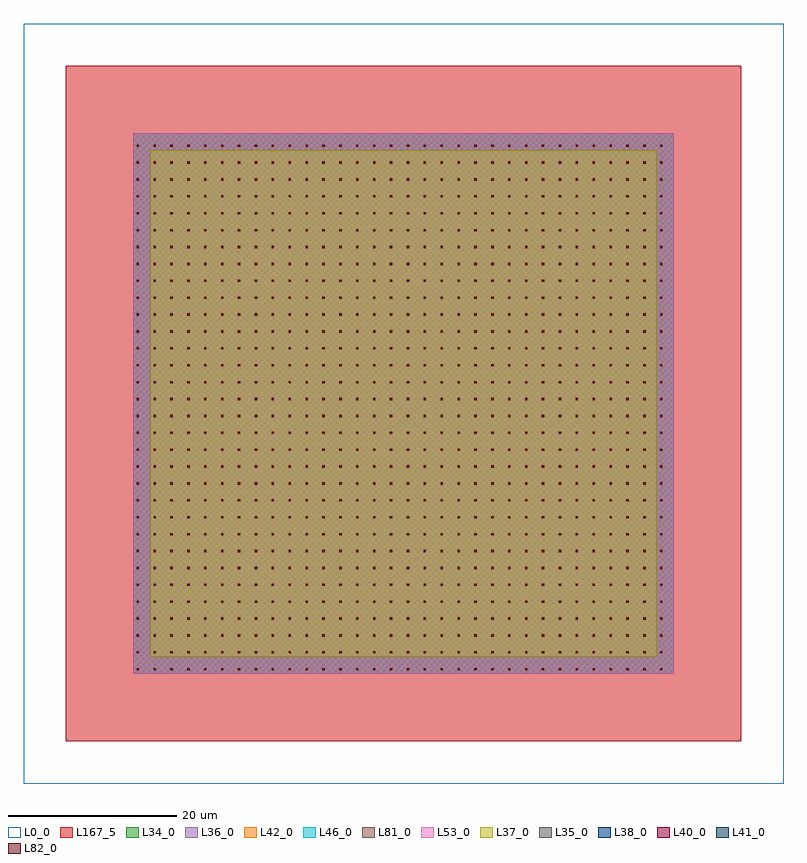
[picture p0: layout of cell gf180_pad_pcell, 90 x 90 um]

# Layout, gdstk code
import gdstk
lib = gdstk.Library(unit=1e-6, precision=1e-09)
def R(c, l, rs):  # rectangles x0, y0, x1, y1
    for r in rs: c.add(gdstk.rectangle(r[:2], r[2:], *l))
def A(c, l, x, y, w, h, nx, ny, dx, dy):  # array of equal rectangles
    R(c, l, [(x+i*dx, y+j*dy, x+i*dx+w, y+j*dy+h) for i in range(nx) for j in range(ny)])
L0_0 = (0, 0)
L34_0 = (34, 0)
L35_0 = (35, 0)
L36_0 = (36, 0)
L37_0 = (37, 0)
L38_0 = (38, 0)
L40_0 = (40, 0)
L41_0 = (41, 0)
L42_0 = (42, 0)
L46_0 = (46, 0)
L53_0 = (53, 0)
L81_0 = (81, 0)
L82_0 = (82, 0)
L167_5 = (167, 5)

gf180_pad_pcell = lib.new_cell('gf180_pad_pcell')
R(gf180_pad_pcell, L0_0, [(-45,-45,45,45)])
R(gf180_pad_pcell, L34_0, [(-32,-32,32,32)])
A(gf180_pad_pcell, L35_0, -31.6, -31.6, 0.26, 0.26, 32, 32, 2, 2)
R(gf180_pad_pcell, L36_0, [(-32,-32,32,32)])
R(gf180_pad_pcell, L37_0, [(-30,-30,30,30)])
A(gf180_pad_pcell, L38_0, -31.6, -31.6, 0.26, 0.26, 32, 32, 2, 2)
A(gf180_pad_pcell, L40_0, -31.6, -31.6, 0.26, 0.26, 32, 32, 2, 2)
A(gf180_pad_pcell, L41_0, -31.6, -31.6, 0.26, 0.26, 32, 32, 2, 2)
R(gf180_pad_pcell, L42_0, [(-32,-32,32,32)])
R(gf180_pad_pcell, L46_0, [(-32,-32,32,32)])
R(gf180_pad_pcell, L53_0, [(-32,-32,32,32)])
R(gf180_pad_pcell, L81_0, [(-32,-32,32,32)])
A(gf180_pad_pcell, L82_0, -31.6, -31.6, 0.26, 0.26, 32, 32, 2, 2)
R(gf180_pad_pcell, L167_5, [(-40,-40,40,40)])

lib.write_gds('gf180_pad_pcell.gds')
